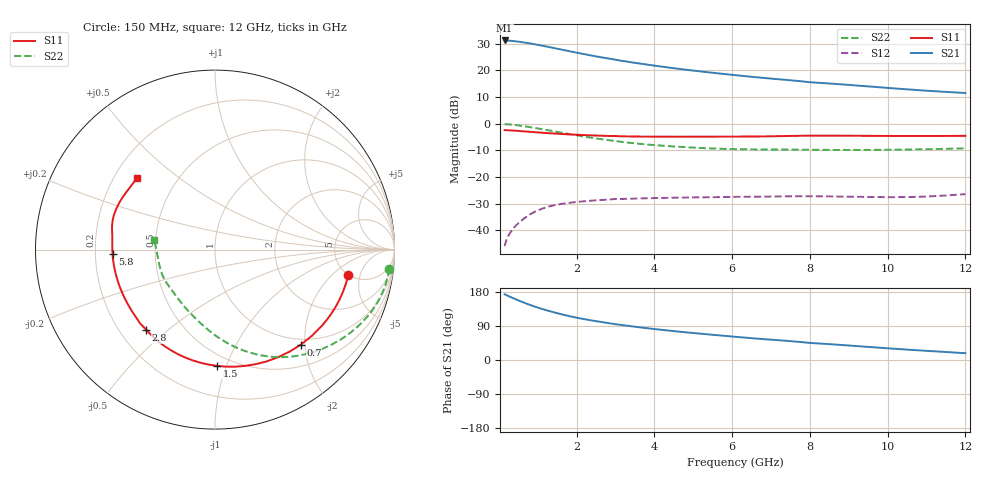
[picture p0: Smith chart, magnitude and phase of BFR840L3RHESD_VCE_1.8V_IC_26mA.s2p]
! Infineon Technologies  Discrete & RF Semiconductors
! BFR840L3RHESD
! VCE =  1.8 V,  IC =  26 mA
! Common Emitter S-Parameters:  Jun 2012
# GHz  S  MA  R  50
!  f  S11  S21  S12  S22
! GHz  MAG  ANG  MAG  ANG  MAG  ANG  MAG  ANG
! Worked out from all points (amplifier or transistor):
!   91 points, 150 MHz to 12 GHz, reference 50 ohm
!   highest |S21| = 31.3 dB at 150 MHz (marker M1)
!   |S21| within 3 dB of that: start of sweep to 1.469 GHz
!   unconditionally stable (mu >= 1): 6.825 GHz to end of sweep
!   at 1.3 GHz: K = 0.21, MSG = 29.9 dB, |S12| = -31.1 dB
!   at 4.3 GHz: K = 0.64, MSG = 24.5 dB, |S12| = -27.9 dB
!   at 12 GHz: K = 1.76, MAG = 13.9 dB, |S12| = -26.5 dB
!   S11 on the Smith chart (normalised r, x): 150 MHz: 4.90, -3.30; 700 MHz: 0.89, -1.92; 1.5 GHz: 0.41, -0.93; 2.8 GHz: 0.31, -0.42; 5.8 GHz: 0.27, -0.02; 12 GHz: 0.29, +0.36
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0.15  0.7556 -11.0  36.59 173.3  0.005 84.4  0.9771 -6.3
0.3  0.7477 -21.7  36.09 166.4  0.0091 80.3  0.9641 -14.1
0.45  0.736 -32.0  35.13 159.7  0.0124 73.7  0.9395 -21.1
0.6  0.7226 -41.7  33.95 153.3  0.0155 67.8  0.9081 -27.5
0.7  0.7134 -47.9  33.08 149.3  0.0176 64.5  0.8852 -31.6
0.9  0.6951 -59.6  31.24 141.8  0.0216 59.0  0.8379 -39.2
1.1  0.6778 -70.3  29.34 135.2  0.0251 54.5  0.791 -46.3
1.3  0.6621 -80.1  27.44 129.1  0.0279 50.4  0.7456 -52.7
1.5  0.648 -89.1  25.63 123.6  0.0301 46.6  0.7022 -58.6
1.8  0.6299 -101.1  23.12 116.1  0.0325 41.9  0.6417 -66.6
2.2  0.6107 -114.8  20.23 107.8  0.0349 37.9  0.5719 -75.8
2.5  0.5988 -123.4  18.39 102.5  0.0363 35.1  0.5288 -81.9
2.8  0.5887 -130.6  16.86 97.7  0.0374 32.0  0.4928 -87.4
3.4  0.5757 -143.8  14.27 89.1  0.039 29.5  0.435 -97.4
4.2  0.5698 -157.1  11.78 79.5  0.0403 27.6  0.3865 -109.2
4.9  0.5694 -166.9  10.14 72.2  0.0411 26.5  0.3588 -118.9
5.8  0.5715 -177.5  8.57 63.8  0.042 25.4  0.3364 -130.6
6.1  0.5723 179.4  8.134 61.1  0.0422 25.1  0.3322 -134.3
8  0.5951 161.2  6.004 45.0  0.0433 24.5  0.3234 -158.6
8.5  0.5954 157.6  5.69 41.9  0.043 24.5  0.3218 -163.0
10.5  0.5871 144.0  4.413 27.4  0.0418 31.6  0.3268 180.0
12  0.5912 137.2  3.768 18.0  0.0474 38.5  0.3451 171.1
